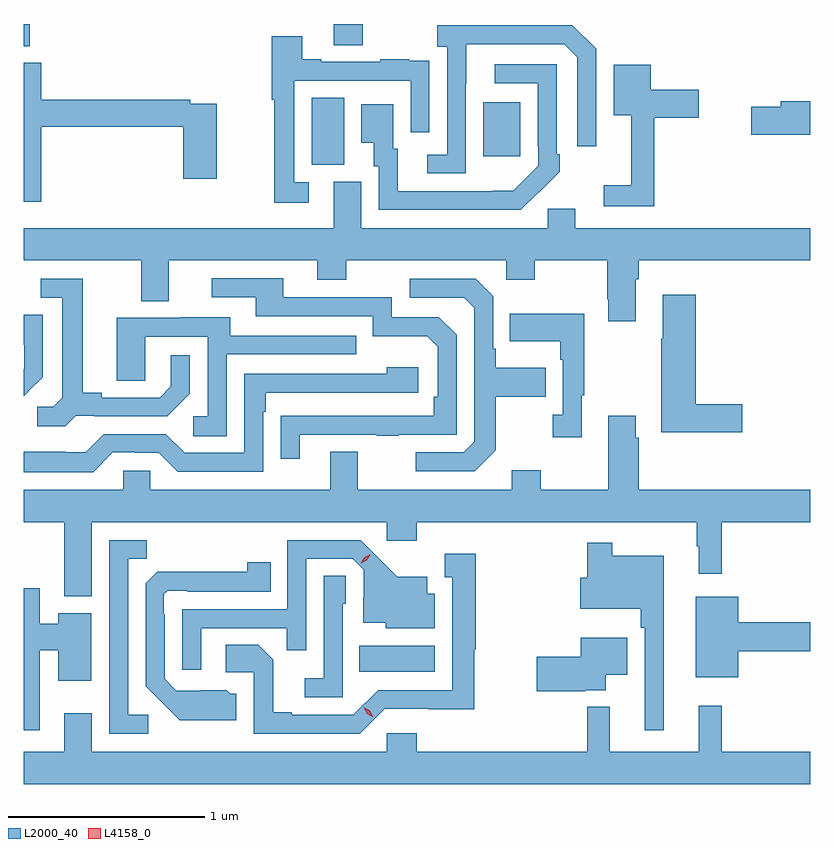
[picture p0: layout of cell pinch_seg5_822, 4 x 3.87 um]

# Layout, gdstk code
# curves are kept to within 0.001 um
import gdstk
lib = gdstk.Library(unit=1e-6, precision=1e-09)
def R(c, l, rs):  # rectangles x0, y0, x1, y1
    for r in rs: c.add(gdstk.rectangle(r[:2], r[2:], *l))
def P(c, l, *ps):  # polygons
    for p in ps: c.add(gdstk.Polygon(p, *l))
L2000_40 = (2000, 40)
L4158_0 = (4158, 0)

pinch_seg5_822 = lib.new_cell('pinch_seg5_822')
R(pinch_seg5_822, L2000_40, [(768.292,875.978,768.676,876.112), (768.05,878.557,768.214,878.9), (768.923,878.601,769.111,878.875), (766.585,879.161,766.616,879.274), (768.161,879.166,768.309,879.274), (769.524,879.273,769.676,879.274)])
P(pinch_seg5_822, L2000_40, [(768.834,878.971),(768.835,879.171),(769.335,879.171),(769.401,879.105),(769.401,878.652),(769.497,878.652),(769.497,879.147),(769.376,879.268),(768.687,879.268),(768.687,879.158),(768.738,879.158),(768.738,878.61),(768.636,878.61),(768.636,878.514),(768.834,878.514)],
  [(768.034,878.469),(767.961,878.469),(767.961,878.985),(768.552,878.985),(768.552,878.724),(768.648,878.724),(768.648,878.978),(768.647,878.978),(768.647,879.087),(768.545,879.087),(768.545,879.094),(768.397,879.094),(768.397,879.081),(768.097,879.081),(768.097,879.094),(768.001,879.094),(768.001,879.211),(767.845,879.211),(767.845,878.888),(767.86,878.888),(767.86,878.364),(768.034,878.364)],
  [(766.673,878.752),(767.396,878.752),(767.396,878.487),(767.566,878.487),(767.566,878.868),(767.432,878.868),(767.432,878.888),(766.673,878.888),(766.673,879.076),(766.585,879.076),(766.585,878.369),(766.673,878.369)],
  [(769.205,878.419),(769.206,878.418),(769.311,878.523),(769.311,878.611),(769.296,878.611),(769.296,879.069),(768.981,879.069),(768.981,878.973),(769.2,878.973),(769.2,878.653),(769.203,878.653),(769.203,878.553),(769.075,878.425),(768.487,878.424),(768.487,878.64),(768.463,878.64),(768.463,878.866),(768.302,878.866),(768.302,878.669),(768.365,878.669),(768.365,878.55),(768.39,878.55),(768.39,878.328),(769.114,878.328)],
  [(769.793,878.798),(770.017,878.798),(770.017,878.94),(769.774,878.94),(769.774,879.067),(769.586,879.067),(769.586,878.81),(769.676,878.81),(769.676,878.455),(769.536,878.455),(769.536,878.346),(769.793,878.346)],
  [(770.585,878.882),(770.435,878.882),(770.435,878.852),(770.286,878.852),(770.286,878.71),(770.585,878.71)],
  [(769.699,877.976),(769.712,877.976),(769.712,878.072),(770.585,878.072),(770.585,878.236),(769.39,878.236),(769.39,878.334),(769.251,878.334),(769.251,878.236),(768.301,878.236),(768.301,878.472),(768.161,878.472),(768.161,878.236),(766.585,878.236),(766.585,878.072),(767.183,878.072),(767.183,877.864),(767.323,877.864),(767.323,878.072),(768.077,878.072),(768.077,877.973),(768.225,877.973),(768.225,878.072),(769.038,878.072),(769.038,877.973),(769.185,877.973),(769.185,878.072),(769.552,878.072),(769.552,877.873),(769.559,877.873),(769.559,877.761),(769.699,877.761)],
  [(767.989,877.185),(768.379,877.185),(768.379,877.18),(768.491,877.18),(768.491,877.185),(768.786,877.185),(768.786,877.692),(768.696,877.782),(768.456,877.782),(768.456,877.884),(767.905,877.884),(767.905,877.98),(767.541,877.98),(767.541,877.884),(767.765,877.884),(767.765,877.788),(768.36,877.788),(768.36,877.685),(768.637,877.685),(768.69,877.632),(768.69,877.378),(768.67,877.378),(768.67,877.281),(767.893,877.28),(767.893,877.062),(767.989,877.062)],
  [(768.985,877.105),(768.985,877.378),(769.241,877.378),(769.241,877.525),(768.985,877.525),(768.985,877.621),(768.972,877.621),(768.972,877.89),(768.885,877.977),(768.549,877.977),(768.549,877.881),(768.825,877.881),(768.876,877.83),(768.876,877.149),(768.822,877.095),(768.579,877.095),(768.579,876.999),(768.879,876.999)],
  [(766.848,877.281),(766.942,877.281),(766.942,877.278),(767.314,877.278),(767.43,877.394),(767.43,877.588),(767.333,877.588),(767.333,877.431),(767.276,877.374),(766.981,877.374),(766.981,877.397),(766.885,877.397),(766.885,877.977),(766.671,877.977),(766.671,877.881),(766.781,877.881),(766.781,877.373),(766.734,877.326),(766.653,877.326),(766.653,877.229),(766.796,877.229)],
  [(770.239,877.34),(770.003,877.34),(770.003,877.897),(769.835,877.897),(769.835,877.673),(769.828,877.673),(769.828,877.198),(770.239,877.198)],
  [(769.423,877.385),(769.435,877.385),(769.435,877.801),(769.057,877.801),(769.057,877.661),(769.314,877.661),(769.314,877.565),(769.326,877.565),(769.326,877.286),(769.275,877.286),(769.275,877.173),(769.423,877.173)],
  [(766.608,877.404),(766.607,877.405),(766.68,877.478),(766.68,877.796),(766.585,877.796),(766.585,877.642),(766.586,877.642),(766.586,877.52),(766.585,877.519),(766.585,877.381)],
  [(767.616,877.593),(768.275,877.593),(768.275,877.689),(767.635,877.689),(767.635,877.783),(767.381,877.783),(767.381,877.779),(767.057,877.779),(767.057,877.459),(767.202,877.459),(767.202,877.683),(767.52,877.683),(767.52,877.278),(767.448,877.278),(767.448,877.177),(767.616,877.177)],
  [(767.037,877.095),(767.153,877.095),(767.153,877.092),(767.271,877.092),(767.367,876.996),(767.802,876.996),(767.802,877.301),(767.815,877.301),(767.815,877.398),(768.592,877.398),(768.592,877.528),(768.431,877.528),(768.431,877.494),(767.706,877.494),(767.706,877.092),(767.403,877.092),(767.307,877.188),(766.992,877.188),(766.899,877.095),(766.799,877.095),(766.799,877.099),(766.585,877.099),(766.585,876.995),(766.937,876.995)],
  [(766.93,876.74),(768.432,876.74),(768.432,876.645),(768.584,876.645),(768.584,876.74),(770.007,876.74),(770.007,876.617),(770.018,876.617),(770.018,876.477),(770.135,876.477),(770.135,876.74),(770.585,876.74),(770.585,876.904),(769.712,876.904),(769.712,877.169),(769.699,877.169),(769.699,877.282),(769.559,877.282),(769.559,876.904),(769.215,876.904),(769.215,877.003),(769.067,877.003),(769.067,876.904),(768.283,876.904),(768.283,877.099),(768.143,877.099),(768.143,876.904),(767.229,876.904),(767.229,877.002),(767.091,877.002),(767.091,876.904),(766.585,876.904),(766.585,876.74),(766.79,876.74),(766.79,876.362),(766.93,876.362)],
  [(767.487,876.201),(767.923,876.201),(767.923,876.088),(768.021,876.088),(768.021,876.555),(768.258,876.555),(768.315,876.498),(768.315,876.356),(768.311,876.356),(768.311,876.227),(768.426,876.227),(768.426,876.2),(768.676,876.2),(768.676,876.376),(768.637,876.376),(768.637,876.463),(768.485,876.463),(768.298,876.648),(767.925,876.648),(767.925,876.297),(767.391,876.297),(767.391,875.988),(767.487,875.988)],
  [(767.218,875.76),(767.115,875.76),(767.115,876.553),(767.211,876.553),(767.211,876.648),(767.019,876.648),(767.019,875.664),(767.218,875.664)],
  [(769.84,876.568),(769.579,876.568),(769.579,876.634),(769.45,876.634),(769.45,876.457),(769.416,876.457),(769.416,876.299),(769.723,876.299),(769.723,876.203),(769.743,876.203),(769.743,875.682),(769.84,875.682)],
  [(768.42,875.79),(768.875,875.789),(768.875,876.093),(768.883,876.093),(768.883,876.58),(768.725,876.58),(768.725,876.459),(768.764,876.459),(768.764,875.886),(768.387,875.886),(768.261,875.76),(767.947,875.76),(767.947,875.773),(767.853,875.773),(767.853,876.04),(767.777,876.116),(767.613,876.116),(767.613,875.976),(767.754,875.976),(767.754,875.664),(768.294,875.664)],
  [(767.665,875.868),(767.634,875.868),(767.618,875.884),(767.361,875.883),(767.301,875.943),(767.301,876.272),(767.298,876.272),(767.298,876.372),(767.316,876.39),(767.416,876.39),(767.416,876.387),(767.84,876.387),(767.84,876.535),(767.722,876.535),(767.722,876.488),(767.264,876.487),(767.205,876.428),(767.205,875.906),(767.377,875.732),(767.665,875.732)],
  [(768.207,876.324),(768.222,876.324),(768.222,876.467),(768.111,876.467),(768.111,875.947),(768.015,875.947),(768.015,875.85),(768.207,875.85)],
  [(766.665,876.088),(766.76,876.088),(766.76,875.934),(766.927,875.934),(766.927,876.277),(766.76,876.277),(766.76,876.224),(766.665,876.224),(766.665,876.403),(766.585,876.403),(766.585,875.682),(766.665,875.682)],
  [(770.218,876.083),(770.585,876.083),(770.585,876.23),(770.218,876.23),(770.218,876.361),(770.003,876.361),(770.003,875.951),(770.218,875.951)],
  [(769.442,875.885),(769.546,875.885),(769.546,875.963),(769.654,875.963),(769.654,876.151),(769.418,876.151),(769.418,876.056),(769.194,876.056),(769.194,875.88),(769.442,875.88)],
  [(769.452,875.8),(769.452,875.572),(768.584,875.572),(768.584,875.665),(768.432,875.665),(768.432,875.572),(766.93,875.572),(766.93,875.767),(766.79,875.767),(766.79,875.572),(766.585,875.572),(766.585,875.408),(770.585,875.408),(770.585,875.572),(770.135,875.572),(770.135,875.806),(770.018,875.806),(770.018,875.572),(769.565,875.572),(769.565,875.8)])
P(pinch_seg5_822, L4158_0, [(768.362,875.747),(768.331,875.766),(768.314,875.799),(768.314,875.799),(768.314,875.799),(768.345,875.78),(768.363,875.748),(768.363,875.747)],
  [(768.299,876.53),(768.299,876.531),(768.316,876.56),(768.347,876.576),(768.347,876.576),(768.347,876.575),(768.33,876.546),(768.299,876.53)])

lib.write_gds('pinch_seg5_822.gds')
